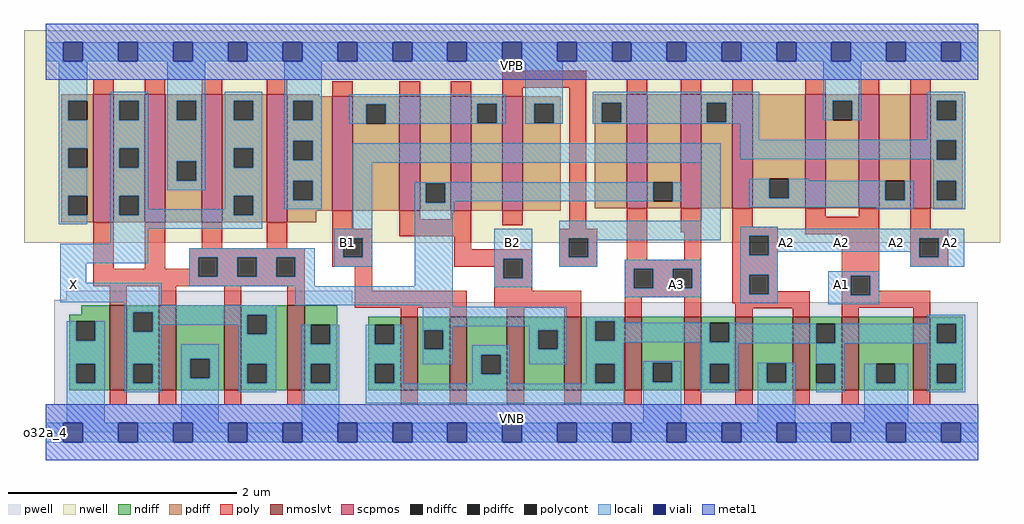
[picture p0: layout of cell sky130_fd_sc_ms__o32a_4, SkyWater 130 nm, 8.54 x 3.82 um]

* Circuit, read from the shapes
.subckt sky130_fd_sc_ms__o32a_4 A1 A2 A3 B1 B2 VGND VNB VPB VPWR X
XM1 X n1 VGND VNB sky130_fd_pr__nfet_01v8_lvt w=0.74 l=0.15 m=4
XM2 n1 B1 n2 VNB sky130_fd_pr__nfet_01v8_lvt w=0.64 l=0.15 m=2
XM3 n1 B2 n2 VNB sky130_fd_pr__nfet_01v8_lvt w=0.64 l=0.15 m=2
XM4 VGND A3 n2 VNB sky130_fd_pr__nfet_01v8_lvt w=0.64 l=0.15 m=2
XM5 VGND A2 n2 VNB sky130_fd_pr__nfet_01v8_lvt w=0.64 l=0.15 m=2
XM6 VGND A1 n2 VNB sky130_fd_pr__nfet_01v8_lvt w=0.64 l=0.15 m=2
XM7 X n1 VPWR VPB sky130_fd_pr__pfet_01v8 w=1.12 l=0.18 m=4
XM8 n3 B1 VPWR VPB sky130_fd_pr__pfet_01v8 w=1 l=0.18 m=2
XM9 n1 B2 n3 VPB sky130_fd_pr__pfet_01v8 w=1 l=0.18 m=2
XM10 n1 A3 n4 VPB sky130_fd_pr__pfet_01v8 w=1 l=0.18 m=2
XM11 n5 A2 n4 VPB sky130_fd_pr__pfet_01v8 w=1 l=0.18 m=2
XM12 VPWR A1 n5 VPB sky130_fd_pr__pfet_01v8 w=1 l=0.18 m=2
.ends

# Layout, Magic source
magic
tech sky130A
magscale 1 2
<< nwell >>
rect -38 332 1670 704
<< pwell >>
rect 36 232 536 248
rect 15 228 536 232
rect 15 49 1631 228
rect 0 0 1632 49
<< scpmos >>
rect 83 368 119 592
rect 173 368 209 592
rect 273 368 309 592
rect 387 368 423 592
rect 501 388 537 588
rect 619 388 655 588
rect 709 388 745 588
rect 799 388 835 588
rect 1017 392 1053 592
rect 1111 392 1147 592
rect 1201 392 1237 592
rect 1329 392 1365 592
rect 1423 392 1459 592
rect 1513 392 1549 592
<< nmoslvt >>
rect 112 74 142 222
rect 198 74 228 222
rect 312 74 342 222
rect 423 74 453 222
rect 621 74 651 202
rect 707 74 737 202
rect 807 74 837 202
rect 907 74 937 202
rect 1013 74 1043 202
rect 1117 74 1147 202
rect 1207 74 1237 202
rect 1307 74 1337 202
rect 1393 74 1423 202
rect 1518 74 1548 202
<< ndiff >>
rect 62 206 112 222
rect 41 194 112 206
rect 41 160 53 194
rect 87 160 112 194
rect 41 120 112 160
rect 41 86 53 120
rect 87 86 112 120
rect 41 74 112 86
rect 142 210 198 222
rect 142 176 153 210
rect 187 176 198 210
rect 142 120 198 176
rect 142 86 153 120
rect 187 86 198 120
rect 142 74 198 86
rect 228 129 312 222
rect 228 95 253 129
rect 287 95 312 129
rect 228 74 312 95
rect 342 206 423 222
rect 342 172 353 206
rect 387 172 423 206
rect 342 120 423 172
rect 342 86 353 120
rect 387 86 423 120
rect 342 74 423 86
rect 453 188 510 222
rect 453 154 464 188
rect 498 154 510 188
rect 453 120 510 154
rect 453 86 464 120
rect 498 86 510 120
rect 453 74 510 86
rect 564 188 621 202
rect 564 154 576 188
rect 610 154 621 188
rect 564 120 621 154
rect 564 86 576 120
rect 610 86 621 120
rect 564 74 621 86
rect 651 179 707 202
rect 651 145 662 179
rect 696 145 707 179
rect 651 74 707 145
rect 737 136 807 202
rect 737 102 762 136
rect 796 102 807 136
rect 737 74 807 102
rect 837 179 907 202
rect 837 145 862 179
rect 896 145 907 179
rect 837 74 907 145
rect 937 194 1013 202
rect 937 160 962 194
rect 996 160 1013 194
rect 937 120 1013 160
rect 937 86 962 120
rect 996 86 1013 120
rect 937 74 1013 86
rect 1043 122 1117 202
rect 1043 88 1062 122
rect 1096 88 1117 122
rect 1043 74 1117 88
rect 1147 192 1207 202
rect 1147 158 1162 192
rect 1196 158 1207 192
rect 1147 120 1207 158
rect 1147 86 1162 120
rect 1196 86 1207 120
rect 1147 74 1207 86
rect 1237 121 1307 202
rect 1237 87 1262 121
rect 1296 87 1307 121
rect 1237 74 1307 87
rect 1337 190 1393 202
rect 1337 156 1348 190
rect 1382 156 1393 190
rect 1337 120 1393 156
rect 1337 86 1348 120
rect 1382 86 1393 120
rect 1337 74 1393 86
rect 1423 120 1518 202
rect 1423 86 1453 120
rect 1487 86 1518 120
rect 1423 74 1518 86
rect 1548 190 1605 202
rect 1548 156 1559 190
rect 1593 156 1605 190
rect 1548 120 1605 156
rect 1548 86 1559 120
rect 1593 86 1605 120
rect 1548 74 1605 86
<< pdiff >>
rect 27 580 83 592
rect 27 546 39 580
rect 73 546 83 580
rect 27 497 83 546
rect 27 463 39 497
rect 73 463 83 497
rect 27 414 83 463
rect 27 380 39 414
rect 73 380 83 414
rect 27 368 83 380
rect 119 580 173 592
rect 119 546 129 580
rect 163 546 173 580
rect 119 497 173 546
rect 119 463 129 497
rect 163 463 173 497
rect 119 414 173 463
rect 119 380 129 414
rect 163 380 173 414
rect 119 368 173 380
rect 209 580 273 592
rect 209 546 229 580
rect 263 546 273 580
rect 209 474 273 546
rect 209 440 229 474
rect 263 440 273 474
rect 209 368 273 440
rect 309 580 387 592
rect 309 546 329 580
rect 363 546 387 580
rect 309 497 387 546
rect 309 463 329 497
rect 363 463 387 497
rect 309 414 387 463
rect 309 380 329 414
rect 363 380 387 414
rect 309 368 387 380
rect 423 588 479 592
rect 423 580 501 588
rect 423 546 433 580
rect 467 546 501 580
rect 423 510 501 546
rect 423 476 433 510
rect 467 476 501 510
rect 423 440 501 476
rect 423 406 433 440
rect 467 406 501 440
rect 423 388 501 406
rect 537 574 619 588
rect 537 540 561 574
rect 595 540 619 574
rect 537 388 619 540
rect 655 436 709 588
rect 655 402 665 436
rect 699 402 709 436
rect 655 388 709 402
rect 745 575 799 588
rect 745 541 755 575
rect 789 541 799 575
rect 745 388 799 541
rect 835 575 901 588
rect 835 541 855 575
rect 889 541 901 575
rect 835 388 901 541
rect 423 368 473 388
rect 961 577 1017 592
rect 961 543 973 577
rect 1007 543 1017 577
rect 961 392 1017 543
rect 1053 438 1111 592
rect 1053 404 1063 438
rect 1097 404 1111 438
rect 1053 392 1111 404
rect 1147 577 1201 592
rect 1147 543 1157 577
rect 1191 543 1201 577
rect 1147 392 1201 543
rect 1237 444 1329 592
rect 1237 410 1266 444
rect 1300 410 1329 444
rect 1237 392 1329 410
rect 1365 580 1423 592
rect 1365 546 1377 580
rect 1411 546 1423 580
rect 1365 392 1423 546
rect 1459 440 1513 592
rect 1459 406 1469 440
rect 1503 406 1513 440
rect 1459 392 1513 406
rect 1549 580 1605 592
rect 1549 546 1559 580
rect 1593 546 1605 580
rect 1549 511 1605 546
rect 1549 477 1559 511
rect 1593 477 1605 511
rect 1549 440 1605 477
rect 1549 406 1559 440
rect 1593 406 1605 440
rect 1549 392 1605 406
<< ndiffc >>
rect 53 160 87 194
rect 53 86 87 120
rect 153 176 187 210
rect 153 86 187 120
rect 253 95 287 129
rect 353 172 387 206
rect 353 86 387 120
rect 464 154 498 188
rect 464 86 498 120
rect 576 154 610 188
rect 576 86 610 120
rect 662 145 696 179
rect 762 102 796 136
rect 862 145 896 179
rect 962 160 996 194
rect 962 86 996 120
rect 1062 88 1096 122
rect 1162 158 1196 192
rect 1162 86 1196 120
rect 1262 87 1296 121
rect 1348 156 1382 190
rect 1348 86 1382 120
rect 1453 86 1487 120
rect 1559 156 1593 190
rect 1559 86 1593 120
<< pdiffc >>
rect 39 546 73 580
rect 39 463 73 497
rect 39 380 73 414
rect 129 546 163 580
rect 129 463 163 497
rect 129 380 163 414
rect 229 546 263 580
rect 229 440 263 474
rect 329 546 363 580
rect 329 463 363 497
rect 329 380 363 414
rect 433 546 467 580
rect 433 476 467 510
rect 433 406 467 440
rect 561 540 595 574
rect 665 402 699 436
rect 755 541 789 575
rect 855 541 889 575
rect 973 543 1007 577
rect 1063 404 1097 438
rect 1157 543 1191 577
rect 1266 410 1300 444
rect 1377 546 1411 580
rect 1469 406 1503 440
rect 1559 546 1593 580
rect 1559 477 1593 511
rect 1559 406 1593 440
<< poly >>
rect 83 592 119 618
rect 173 592 209 618
rect 273 592 309 618
rect 387 592 423 618
rect 501 588 537 614
rect 619 588 655 614
rect 709 588 745 614
rect 799 603 946 633
rect 799 588 835 603
rect 83 286 119 368
rect 173 286 209 368
rect 273 322 309 368
rect 387 322 423 368
rect 501 356 537 388
rect 619 373 655 388
rect 709 373 745 388
rect 501 340 571 356
rect 619 343 745 373
rect 799 362 835 388
rect 916 356 946 603
rect 1017 592 1053 618
rect 1111 592 1147 618
rect 1201 592 1237 618
rect 1329 592 1365 618
rect 1423 592 1459 618
rect 1513 592 1549 618
rect 251 306 453 322
rect 251 286 267 306
rect 83 272 267 286
rect 301 272 335 306
rect 369 272 403 306
rect 437 272 453 306
rect 501 306 521 340
rect 555 306 571 340
rect 501 290 571 306
rect 715 320 745 343
rect 899 340 965 356
rect 715 304 851 320
rect 715 290 801 304
rect 83 256 453 272
rect 112 222 142 256
rect 198 222 228 256
rect 312 222 342 256
rect 423 222 453 256
rect 541 248 571 290
rect 785 270 801 290
rect 835 270 851 304
rect 899 306 915 340
rect 949 306 965 340
rect 899 290 965 306
rect 1017 302 1053 392
rect 1111 350 1147 392
rect 1117 302 1147 350
rect 785 248 851 270
rect 1013 286 1147 302
rect 1013 252 1029 286
rect 1063 252 1097 286
rect 1131 252 1147 286
rect 541 218 737 248
rect 785 218 937 248
rect 621 202 651 218
rect 707 202 737 218
rect 807 202 837 218
rect 907 202 937 218
rect 1013 236 1147 252
rect 1013 202 1043 236
rect 1117 202 1147 236
rect 1201 360 1237 392
rect 1329 377 1365 392
rect 1423 377 1459 392
rect 1201 344 1281 360
rect 1329 347 1459 377
rect 1201 310 1231 344
rect 1265 310 1281 344
rect 1201 276 1281 310
rect 1201 242 1231 276
rect 1265 247 1281 276
rect 1393 274 1459 347
rect 1513 356 1549 392
rect 1513 340 1579 356
rect 1513 306 1529 340
rect 1563 306 1579 340
rect 1513 290 1579 306
rect 1265 242 1337 247
rect 1201 226 1337 242
rect 1207 217 1337 226
rect 1207 202 1237 217
rect 1307 202 1337 217
rect 1393 240 1409 274
rect 1443 248 1459 274
rect 1443 240 1548 248
rect 1393 218 1548 240
rect 1393 202 1423 218
rect 1518 202 1548 218
rect 112 48 142 74
rect 198 48 228 74
rect 312 48 342 74
rect 423 48 453 74
rect 621 48 651 74
rect 707 48 737 74
rect 807 48 837 74
rect 907 48 937 74
rect 1013 48 1043 74
rect 1117 48 1147 74
rect 1207 48 1237 74
rect 1307 48 1337 74
rect 1393 48 1423 74
rect 1518 48 1548 74
<< polycont >>
rect 267 272 301 306
rect 335 272 369 306
rect 403 272 437 306
rect 521 306 555 340
rect 801 270 835 304
rect 915 306 949 340
rect 1029 252 1063 286
rect 1097 252 1131 286
rect 1231 310 1265 344
rect 1231 242 1265 276
rect 1529 306 1563 340
rect 1409 240 1443 274
<< locali >>
rect 0 649 31 683
rect 65 649 127 683
rect 161 649 223 683
rect 257 649 319 683
rect 353 649 415 683
rect 449 649 511 683
rect 545 649 607 683
rect 641 649 703 683
rect 737 649 799 683
rect 833 649 895 683
rect 929 649 991 683
rect 1025 649 1087 683
rect 1121 649 1183 683
rect 1217 649 1279 683
rect 1313 649 1375 683
rect 1409 649 1471 683
rect 1505 649 1567 683
rect 1601 649 1632 683
rect 23 580 73 649
rect 23 546 39 580
rect 23 497 73 546
rect 23 463 39 497
rect 23 414 73 463
rect 23 380 39 414
rect 23 364 73 380
rect 113 580 179 596
rect 113 546 129 580
rect 163 546 179 580
rect 113 497 179 546
rect 113 463 129 497
rect 163 463 179 497
rect 113 414 179 463
rect 213 580 279 649
rect 213 546 229 580
rect 263 546 279 580
rect 213 474 279 546
rect 213 440 229 474
rect 263 440 279 474
rect 213 424 279 440
rect 313 580 379 596
rect 313 546 329 580
rect 363 546 379 580
rect 313 497 379 546
rect 313 463 329 497
rect 363 463 379 497
rect 113 380 129 414
rect 163 390 179 414
rect 313 414 379 463
rect 313 390 329 414
rect 163 380 329 390
rect 363 380 379 414
rect 417 580 483 649
rect 417 546 433 580
rect 467 546 483 580
rect 417 510 483 546
rect 531 575 805 592
rect 531 574 755 575
rect 531 540 561 574
rect 595 541 755 574
rect 789 541 805 575
rect 595 540 805 541
rect 839 575 905 649
rect 839 541 855 575
rect 889 541 905 575
rect 839 540 905 541
rect 957 577 1249 596
rect 957 543 973 577
rect 1007 543 1157 577
rect 1191 543 1249 577
rect 1361 580 1427 649
rect 1361 546 1377 580
rect 1411 546 1427 580
rect 1543 580 1609 596
rect 1543 546 1559 580
rect 1593 546 1609 580
rect 957 540 1249 543
rect 417 476 433 510
rect 467 476 483 510
rect 1215 512 1249 540
rect 1543 512 1609 546
rect 1215 511 1609 512
rect 417 440 483 476
rect 417 406 433 440
rect 467 406 483 440
rect 417 390 483 406
rect 537 472 1181 506
rect 1215 478 1559 511
rect 113 356 379 380
rect 537 356 571 472
rect 113 330 179 356
rect 25 296 179 330
rect 505 340 571 356
rect 251 306 471 322
rect 25 262 71 296
rect 251 272 267 306
rect 301 272 335 306
rect 369 272 403 306
rect 437 272 471 306
rect 505 306 521 340
rect 555 306 571 340
rect 505 290 571 306
rect 646 436 1063 438
rect 646 402 665 436
rect 699 404 1063 436
rect 1097 404 1113 438
rect 699 402 715 404
rect 646 384 715 402
rect 25 228 203 262
rect 251 256 471 272
rect 646 256 712 384
rect 1147 370 1181 472
rect 1553 477 1559 478
rect 1593 477 1609 511
rect 1231 410 1266 444
rect 1300 440 1335 444
rect 1553 440 1609 477
rect 1300 410 1469 440
rect 1231 406 1469 410
rect 1503 406 1519 440
rect 1231 394 1519 406
rect 1453 390 1519 394
rect 1553 406 1559 440
rect 1593 406 1609 440
rect 1553 390 1609 406
rect 137 222 203 228
rect 437 222 712 256
rect 785 304 851 356
rect 785 270 801 304
rect 835 270 851 304
rect 899 340 1181 370
rect 899 306 915 340
rect 949 336 1181 340
rect 1215 356 1281 360
rect 1215 344 1607 356
rect 949 306 965 336
rect 899 290 965 306
rect 1215 310 1231 344
rect 1265 340 1607 344
rect 1265 316 1529 340
rect 1265 310 1281 316
rect 785 254 851 270
rect 1013 286 1147 302
rect 1013 252 1029 286
rect 1063 252 1097 286
rect 1131 252 1147 286
rect 1013 236 1147 252
rect 1215 276 1281 310
rect 1513 306 1529 316
rect 1563 306 1607 340
rect 1513 290 1607 306
rect 1215 242 1231 276
rect 1265 242 1281 276
rect 1215 226 1281 242
rect 1369 274 1459 282
rect 1369 240 1409 274
rect 1443 240 1459 274
rect 1369 224 1459 240
rect 137 210 403 222
rect 37 160 53 194
rect 87 160 103 194
rect 37 120 103 160
rect 37 86 53 120
rect 87 86 103 120
rect 37 17 103 86
rect 137 176 153 210
rect 187 206 403 210
rect 187 188 353 206
rect 187 176 203 188
rect 137 120 203 176
rect 337 172 353 188
rect 387 172 403 206
rect 660 220 712 222
rect 137 86 153 120
rect 187 86 203 120
rect 137 70 203 86
rect 237 129 303 154
rect 237 95 253 129
rect 287 95 303 129
rect 237 17 303 95
rect 337 120 403 172
rect 337 86 353 120
rect 387 86 403 120
rect 337 70 403 86
rect 448 154 464 188
rect 498 154 514 188
rect 448 120 514 154
rect 448 86 464 120
rect 498 86 514 120
rect 448 17 514 86
rect 560 154 576 188
rect 610 154 626 188
rect 560 120 626 154
rect 560 86 576 120
rect 610 86 626 120
rect 660 186 912 220
rect 660 179 712 186
rect 660 145 662 179
rect 696 145 712 179
rect 846 179 912 186
rect 660 119 712 145
rect 746 136 812 152
rect 560 85 626 86
rect 746 102 762 136
rect 796 102 812 136
rect 846 145 862 179
rect 896 145 912 179
rect 846 119 912 145
rect 946 194 1012 202
rect 946 160 962 194
rect 996 192 1012 194
rect 996 160 1162 192
rect 946 158 1162 160
rect 1196 190 1212 192
rect 1543 190 1609 206
rect 1196 158 1348 190
rect 946 120 1012 158
rect 1146 156 1348 158
rect 1382 156 1559 190
rect 1593 156 1609 190
rect 746 85 812 102
rect 946 86 962 120
rect 996 86 1012 120
rect 946 85 1012 86
rect 560 51 1012 85
rect 1046 122 1112 124
rect 1046 88 1062 122
rect 1096 88 1112 122
rect 1046 17 1112 88
rect 1146 120 1212 156
rect 1146 86 1162 120
rect 1196 86 1212 120
rect 1146 70 1212 86
rect 1246 121 1312 122
rect 1246 87 1262 121
rect 1296 87 1312 121
rect 1246 17 1312 87
rect 1348 120 1398 156
rect 1543 120 1609 156
rect 1382 86 1398 120
rect 1348 70 1398 86
rect 1432 86 1453 120
rect 1487 86 1509 120
rect 1432 17 1509 86
rect 1543 86 1559 120
rect 1593 86 1609 120
rect 1543 70 1609 86
rect 0 -17 31 17
rect 65 -17 127 17
rect 161 -17 223 17
rect 257 -17 319 17
rect 353 -17 415 17
rect 449 -17 511 17
rect 545 -17 607 17
rect 641 -17 703 17
rect 737 -17 799 17
rect 833 -17 895 17
rect 929 -17 991 17
rect 1025 -17 1087 17
rect 1121 -17 1183 17
rect 1217 -17 1279 17
rect 1313 -17 1375 17
rect 1409 -17 1471 17
rect 1505 -17 1567 17
rect 1601 -17 1632 17
<< viali >>
rect 31 649 65 683
rect 127 649 161 683
rect 223 649 257 683
rect 319 649 353 683
rect 415 649 449 683
rect 511 649 545 683
rect 607 649 641 683
rect 703 649 737 683
rect 799 649 833 683
rect 895 649 929 683
rect 991 649 1025 683
rect 1087 649 1121 683
rect 1183 649 1217 683
rect 1279 649 1313 683
rect 1375 649 1409 683
rect 1471 649 1505 683
rect 1567 649 1601 683
rect 31 -17 65 17
rect 127 -17 161 17
rect 223 -17 257 17
rect 319 -17 353 17
rect 415 -17 449 17
rect 511 -17 545 17
rect 607 -17 641 17
rect 703 -17 737 17
rect 799 -17 833 17
rect 895 -17 929 17
rect 991 -17 1025 17
rect 1087 -17 1121 17
rect 1183 -17 1217 17
rect 1279 -17 1313 17
rect 1375 -17 1409 17
rect 1471 -17 1505 17
rect 1567 -17 1601 17
<< metal1 >>
rect 0 683 1632 715
rect 0 649 31 683
rect 65 649 127 683
rect 161 649 223 683
rect 257 649 319 683
rect 353 649 415 683
rect 449 649 511 683
rect 545 649 607 683
rect 641 649 703 683
rect 737 649 799 683
rect 833 649 895 683
rect 929 649 991 683
rect 1025 649 1087 683
rect 1121 649 1183 683
rect 1217 649 1279 683
rect 1313 649 1375 683
rect 1409 649 1471 683
rect 1505 649 1567 683
rect 1601 649 1632 683
rect 0 617 1632 649
rect 0 17 1632 49
rect 0 -17 31 17
rect 65 -17 127 17
rect 161 -17 223 17
rect 257 -17 319 17
rect 353 -17 415 17
rect 449 -17 511 17
rect 545 -17 607 17
rect 641 -17 703 17
rect 737 -17 799 17
rect 833 -17 895 17
rect 929 -17 991 17
rect 1025 -17 1087 17
rect 1121 -17 1183 17
rect 1217 -17 1279 17
rect 1313 -17 1375 17
rect 1409 -17 1471 17
rect 1505 -17 1567 17
rect 1601 -17 1632 17
rect 0 -49 1632 -17
<< labels >>
flabel pwell s 0 0 1632 49 0 FreeSans 200 0 0 0 VNB
port 7 nsew ground bidirectional
flabel nwell s 0 617 1632 666 0 FreeSans 200 0 0 0 VPB
port 8 nsew power bidirectional
rlabel comment s 0 0 0 0 4 o32a_4
flabel metal1 s 0 617 1632 666 0 FreeSans 340 0 0 0 VPWR
port 9 nsew power bidirectional
flabel metal1 s 0 0 1632 49 0 FreeSans 340 0 0 0 VGND
port 6 nsew ground bidirectional
flabel locali s 799 316 833 350 0 FreeSans 340 0 0 0 B2
port 5 nsew signal input
flabel locali s 1087 242 1121 276 0 FreeSans 340 0 0 0 A3
port 3 nsew signal input
flabel locali s 1279 316 1313 350 0 FreeSans 340 0 0 0 A2
port 2 nsew signal input
flabel locali s 1375 316 1409 350 0 FreeSans 340 0 0 0 A2
port 2 nsew signal input
flabel locali s 1471 316 1505 350 0 FreeSans 340 0 0 0 A2
port 2 nsew signal input
flabel locali s 1567 316 1601 350 0 FreeSans 340 0 0 0 A2
port 2 nsew signal input
flabel locali s 1375 242 1409 276 0 FreeSans 340 0 0 0 A1
port 1 nsew signal input
flabel locali s 31 242 65 276 0 FreeSans 340 0 0 0 X
port 10 nsew signal output
flabel locali s 511 316 545 350 0 FreeSans 340 0 0 0 B1
port 4 nsew signal input
<< properties >>
string LEFsite unit
string LEFclass CORE
string FIXED_BBOX 0 0 1632 666
string GDS_FILE $PDKPATH/libs.ref/sky130_fd_sc_ms/gds/sky130_fd_sc_ms.gds
string LEFsymmetry X Y
string GDS_END 900420
string GDS_START 888010
<< end >>
